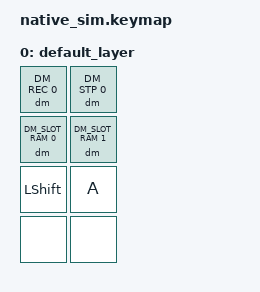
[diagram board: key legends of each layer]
#include <dt-bindings/zmk/keys.h>
#include <behaviors.dtsi>
#include <dt-bindings/zmk/kscan_mock.h>
#include <behaviors/dynamic_macro.dtsi>
#include <dt-bindings/zmk/dynamic_macros.h>

&kscan {
    rows = <4>;
    columns = <2>;
    exit-after;
    events = <
        /* REC */
        ZMK_MOCK_PRESS(0,0,10)
        ZMK_MOCK_RELEASE(0,0,10)
        /* Shift+A (hold shift, press A, release A, release shift) */
        ZMK_MOCK_PRESS(2,0,10)
        ZMK_MOCK_PRESS(2,1,10)
        ZMK_MOCK_RELEASE(2,1,10)
        ZMK_MOCK_RELEASE(2,0,10)
        /* STP */
        ZMK_MOCK_PRESS(0,1,10)
        ZMK_MOCK_RELEASE(0,1,10)
        /* Assign to slot 0 */
        ZMK_MOCK_PRESS(1,0,10)
        ZMK_MOCK_RELEASE(1,0,10)
        /* Play slot 0: should replay Shift+A */
        ZMK_MOCK_PRESS(1,0,2000)
        ZMK_MOCK_RELEASE(1,0,10)
    >;
};

/ {
    keymap {
        compatible = "zmk,keymap";
        default_layer {
            bindings = <
                &dm DM_REC 0        &dm DM_STP 0
                &dm DM_SLOT_RAM 0   &dm DM_SLOT_RAM 1
                &kp LSHFT           &kp A
                &none               &none
            >;
        };
    };
};
